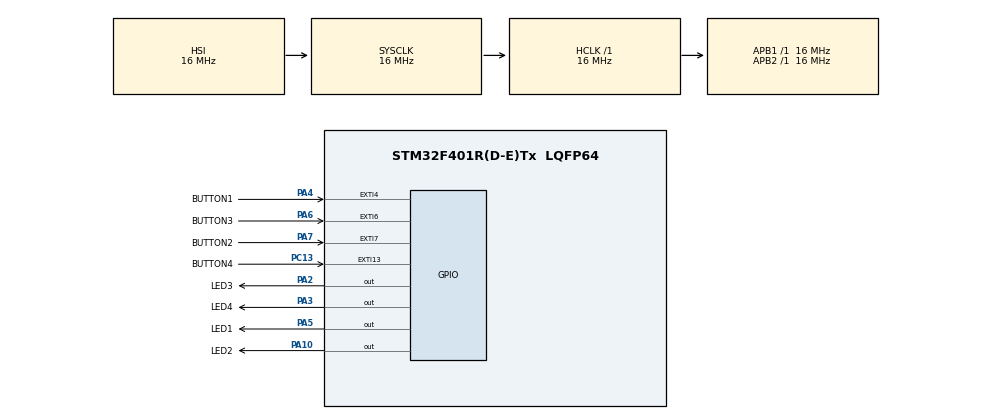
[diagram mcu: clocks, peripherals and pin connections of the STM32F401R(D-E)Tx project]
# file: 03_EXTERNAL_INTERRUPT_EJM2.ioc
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Mcu.Family=STM32F4
Mcu.Name=STM32F401R(D-E)Tx
Mcu.Package=LQFP64
NVIC.EXTI15_10_IRQn=true\:0\:0\:false\:false\:true\:true\:true\:true
NVIC.EXTI4_IRQn=true\:0\:0\:false\:false\:true\:true\:true\:true
NVIC.EXTI9_5_IRQn=true\:0\:0\:false\:false\:true\:true\:true\:true
NVIC.PriorityGroup=NVIC_PRIORITYGROUP_4
PA10.GPIO_Label=LED2
PA10.Signal=GPIO_Output
PA13.Mode=Serial_Wire
PA13.Signal=SYS_JTMS-SWDIO
PA14.Mode=Serial_Wire
PA14.Signal=SYS_JTCK-SWCLK
PA2.GPIO_Label=LED3
PA2.Signal=GPIO_Output
PA3.GPIO_Label=LED4
PA3.Signal=GPIO_Output
PA4.GPIO_Label=BUTTON1
PA4.GPIO_ModeDefaultEXTI=GPIO_MODE_IT_FALLING
PA4.GPIO_PuPd=GPIO_NOPULL
PA4.Signal=GPXTI4
PA5.GPIO_Label=LED1
PA5.Signal=GPIO_Output
PA6.GPIO_Label=BUTTON3
PA6.GPIO_ModeDefaultEXTI=GPIO_MODE_IT_FALLING
PA6.Signal=GPXTI6
PA7.GPIO_Label=BUTTON2
PA7.GPIO_ModeDefaultEXTI=GPIO_MODE_IT_FALLING
PA7.Signal=GPXTI7
PC13-ANTI_TAMP.GPIO_Label=BUTTON4
PC13-ANTI_TAMP.GPIO_ModeDefaultEXTI=GPIO_MODE_IT_FALLING
PC13-ANTI_TAMP.GPIO_PuPd=GPIO_PULLUP
PC13-ANTI_TAMP.Signal=GPXTI13
ProjectManager.HeapSize=0x200
ProjectManager.StackSize=0x400
ProjectManager.TargetToolchain=STM32CubeIDE
RCC.AHBFreq_Value=16000000
RCC.APB1Freq_Value=16000000
RCC.APB2Freq_Value=16000000
RCC.CortexFreq_Value=16000000
RCC.HSE_VALUE=25000000
RCC.HSI_VALUE=16000000
RCC.LSE_VALUE=32768
RCC.SYSCLKFreq_VALUE=16000000
RCC.VCOOutputFreq_Value=192000000
board=custom

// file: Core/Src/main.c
/* USER CODE BEGIN Header */
/**
  ******************************************************************************
  * @file           : main.c
  * @brief          : Main program body
  ******************************************************************************
  * @attention
  *
  * Copyright (c) 2023 STMicroelectronics.
  * All rights reserved.
  *
  * This software is licensed under terms that can be found in the LICENSE file
  * in the root directory of this software component.
  * If no LICENSE file comes with this software, it is provided AS-IS.
  *
  ******************************************************************************
  */
/* USER CODE END Header */
#include "main.h"

/* USER CODE BEGIN Includes */
#include <stdbool.h>
/* USER CODE END Includes */

/* USER CODE BEGIN PV */
volatile uint8_t contador[3];
__IO bool flag=false;
/* USER CODE END PV */

void SystemClock_Config(void);
static void MX_GPIO_Init(void);

int main(void)
{

  /* MCU Configuration--------------------------------------------------------*/

  /* Reset of all peripherals, Initializes the Flash interface and the Systick. */
  HAL_Init();

  /* Configure the system clock */
  SystemClock_Config();

  /* Initialize all configured peripherals */
  MX_GPIO_Init();

  /* Infinite loop */
  /* USER CODE BEGIN WHILE */
  while (1)
  {
	  if(contador[0]==2){
	  		HAL_GPIO_TogglePin(LED1_GPIO_Port, LED1_Pin);
	  	}

	  	if(contador[1]==2){
	  			HAL_GPIO_TogglePin(LED2_GPIO_Port, LED2_Pin);
	  	}

	  	if(contador[2]==2){
	  			HAL_GPIO_TogglePin(LED3_GPIO_Port, LED3_Pin);
	  	}

	  	if(contador[3]==2){
	  			HAL_GPIO_TogglePin(LED4_GPIO_Port, LED4_Pin);
	  	}

	  	if(contador[0]>2)contador[0]=0;
	  	if(contador[1]>2)contador[1]=0;
	  	if(contador[2]>2)contador[2]=0;
	  	if(contador[3]>2)contador[3]=0;
    /* USER CODE END WHILE */

  }
}

void SystemClock_Config(void)
{
  RCC_OscInitTypeDef RCC_OscInitStruct = {0};
  RCC_ClkInitTypeDef RCC_ClkInitStruct = {0};

  /** Configure the main internal regulator output voltage
  */
  __HAL_RCC_PWR_CLK_ENABLE();
  __HAL_PWR_VOLTAGESCALING_CONFIG(PWR_REGULATOR_VOLTAGE_SCALE2);

  /** Initializes the RCC Oscillators according to the specified parameters
  * in the RCC_OscInitTypeDef structure.
  */
  RCC_OscInitStruct.OscillatorType = RCC_OSCILLATORTYPE_HSI;
  RCC_OscInitStruct.HSIState = RCC_HSI_ON;
  RCC_OscInitStruct.HSICalibrationValue = RCC_HSICALIBRATION_DEFAULT;
  RCC_OscInitStruct.PLL.PLLState = RCC_PLL_NONE;
  if (HAL_RCC_OscConfig(&RCC_OscInitStruct) != HAL_OK)
  {
    Error_Handler();
  }

  /** Initializes the CPU, AHB and APB buses clocks
  */
  RCC_ClkInitStruct.ClockType = RCC_CLOCKTYPE_HCLK|RCC_CLOCKTYPE_SYSCLK
                              |RCC_CLOCKTYPE_PCLK1|RCC_CLOCKTYPE_PCLK2;
  RCC_ClkInitStruct.SYSCLKSource = RCC_SYSCLKSOURCE_HSI;
  RCC_ClkInitStruct.AHBCLKDivider = RCC_SYSCLK_DIV1;
  RCC_ClkInitStruct.APB1CLKDivider = RCC_HCLK_DIV1;
  RCC_ClkInitStruct.APB2CLKDivider = RCC_HCLK_DIV1;

  if (HAL_RCC_ClockConfig(&RCC_ClkInitStruct, FLASH_LATENCY_0) != HAL_OK)
  {
    Error_Handler();
  }
}

static void MX_GPIO_Init(void)
{
  GPIO_InitTypeDef GPIO_InitStruct = {0};

  /* GPIO Ports Clock Enable */
  __HAL_RCC_GPIOC_CLK_ENABLE();
  __HAL_RCC_GPIOA_CLK_ENABLE();

  /*Configure GPIO pin Output Level */
  HAL_GPIO_WritePin(GPIOA, LED3_Pin|LED4_Pin|LED1_Pin|LED2_Pin, GPIO_PIN_RESET);

  /*Configure GPIO pin : BUTTON4_Pin */
  GPIO_InitStruct.Pin = BUTTON4_Pin;
  GPIO_InitStruct.Mode = GPIO_MODE_IT_FALLING;
  GPIO_InitStruct.Pull = GPIO_PULLUP;
  HAL_GPIO_Init(BUTTON4_GPIO_Port, &GPIO_InitStruct);

  /*Configure GPIO pins : LED3_Pin LED4_Pin LED1_Pin LED2_Pin */
  GPIO_InitStruct.Pin = LED3_Pin|LED4_Pin|LED1_Pin|LED2_Pin;
  GPIO_InitStruct.Mode = GPIO_MODE_OUTPUT_PP;
  GPIO_InitStruct.Pull = GPIO_NOPULL;
  GPIO_InitStruct.Speed = GPIO_SPEED_FREQ_LOW;
  HAL_GPIO_Init(GPIOA, &GPIO_InitStruct);

  /*Configure GPIO pins : BUTTON1_Pin BUTTON3_Pin BUTTON2_Pin */
  GPIO_InitStruct.Pin = BUTTON1_Pin|BUTTON3_Pin|BUTTON2_Pin;
  GPIO_InitStruct.Mode = GPIO_MODE_IT_FALLING;
  GPIO_InitStruct.Pull = GPIO_NOPULL;
  HAL_GPIO_Init(GPIOA, &GPIO_InitStruct);

  /* EXTI interrupt init*/
  HAL_NVIC_SetPriority(EXTI4_IRQn, 0, 0);
  HAL_NVIC_EnableIRQ(EXTI4_IRQn);

  HAL_NVIC_SetPriority(EXTI9_5_IRQn, 0, 0);
  HAL_NVIC_EnableIRQ(EXTI9_5_IRQn);

  HAL_NVIC_SetPriority(EXTI15_10_IRQn, 0, 0);
  HAL_NVIC_EnableIRQ(EXTI15_10_IRQn);

}

/* USER CODE BEGIN 4 */
void HAL_GPIO_EXTI_Callback(uint16_t GPIO_Pin){
	switch (GPIO_Pin) {
		case BUTTON1_Pin:
			contador[0]++;
			break;

		case BUTTON2_Pin:
			contador[1]++;
			break;

		case BUTTON3_Pin:
			contador[2]++;
			break;

		case BUTTON4_Pin:
			contador[3]++;
			break;

		default:
			break;
	}
}
/* USER CODE END 4 */

void Error_Handler(void)
{
  __disable_irq();
  while (1)
  {
  }
}
